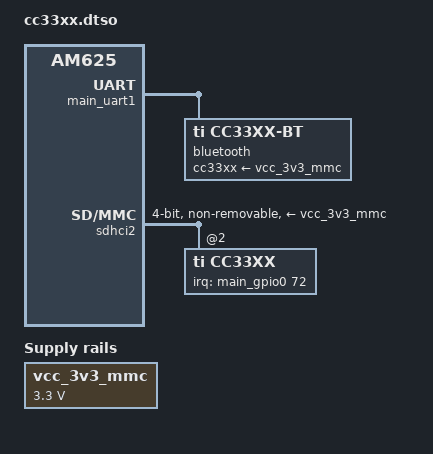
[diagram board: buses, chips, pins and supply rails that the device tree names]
// SPDX-License-Identifier: GPL-2.0
/*
 * Copyright (C) 2022 - 2023 PHYTEC Messtechnik GmbH
 * Author: Alexander Bauer <a.bauer@phytec.de>
 *
 * Product homepage:
 * https://www.phytec.com/product/phyboard-am62x
 */

#include <dt-bindings/gpio/gpio.h>
#include <dt-bindings/input/input.h>
#include <dt-bindings/leds/common.h>
#include <dt-bindings/net/ti-dp83867.h>
#include <dt-bindings/interrupt-controller/irq.h>
#include "k3-pinctrl.h"

/dts-v1/;
/plugin/;

/ {
        compatible = "phytec,am625-phyverso-evcs",
                     "phytec,am62-phycore-som", "ti,am625";

	vcc_3v3_mmc: regulator-vcc-3v3-mmc {
		compatible = "regulator-fixed";
		regulator-name = "VCC_3V3_MMC";
		regulator-min-microvolt = <3300000>;
		regulator-max-microvolt = <3300000>;
		regulator-always-on;
		regulator-boot-on;
	};
};

&main_pmx0 {
	pinctrl-names = "default";

	main_mmc2_pins_default: main-mmc2-pins-default {
		pinctrl-single,pins = <
			AM62X_IOPAD(0x120, PIN_INPUT_PULLUP, 0) /* (C24) MMC2_CMD */
			AM62X_IOPAD(0x118, PIN_INPUT_PULLDOWN, 0) /* (D25) MMC2_CLK */
			AM62X_IOPAD(0x114, PIN_INPUT_PULLUP, 0) /* (B24) MMC2_DAT0 */
			AM62X_IOPAD(0x110, PIN_INPUT_PULLUP, 0) /* (C25) MMC2_DAT1 */
			AM62X_IOPAD(0x10c, PIN_INPUT_PULLUP, 0) /* (E23) MMC2_DAT2 */
			AM62X_IOPAD(0x108, PIN_INPUT_PULLUP, 0) /* (D24) MMC2_DAT3 */
			AM62X_IOPAD(0x11c, PIN_INPUT_PULLUP, 0) /* (#N/A) MMC2_CLKB */
		>;
	};

	main_uart1_pins_default: main-uart1-pins-default {
		pinctrl-single,pins = <
			AM62X_IOPAD(0x194, PIN_INPUT, 2) /* (B19) MCASP0_AXR3.UART1_CTSn */
			AM62X_IOPAD(0x198, PIN_OUTPUT, 2) /* (A19) MCASP0_AXR2.UART1_RTSn */
			AM62X_IOPAD(0x1ac, PIN_INPUT, 2) /* (E19) MCASP0_AFSR.UART1_RXD */
			AM62X_IOPAD(0x1b0, PIN_OUTPUT, 2) /* (A20) MCASP0_ACLKR.UART1_TXD */
		>;
	};

	wifi_wlirq_pins_default: wifi-wlirq-pins-default {
		pinctrl-single,pins = <
			AM62X_IOPAD(0x128, PIN_INPUT_PULLDOWN, 7) /* (B23) MMC2_SDWP.GPIO0_72 */
		>;
	};

};


&main_uart1 {
	pinctrl-names = "default";
	pinctrl-0 = <&main_uart1_pins_default>;
	status = "okay";

	bluetooth {
		compatible = "ti,cc33xx-bt";
		max-speed = <115200>;
		cc33xx-supply = <&vcc_3v3_mmc>;
	};
};


&sdhci2 {
	#address-cells = <1>;
	#size-cells = <0>;

	vmmc-supply = <&vcc_3v3_mmc>;
	vqmmc-supply = <&vddshv5_sdio>;
	pinctrl-names = "default";
	pinctrl-0 = <&main_mmc2_pins_default>;

	bus-width = <4>;
	non-removable;
	ti,fails-without-test-cd;
	cap-power-off-card;
	keep-power-in-suspend;
	ti,driver-strength-ohm = <50>;
	pm-ignore-notify;

	assigned-clocks = <&k3_clks 157 158>;
	assigned-clock-parents = <&k3_clks 157 160>;


	status = "okay";

	cc33xx: wifi@2 {
		compatible = "ti,cc33xx";
		reg = <2>;
		pinctrl-names = "default";
		pinctrl-0 = <&wifi_wlirq_pins_default>;

		interrupt-parent = <&main_gpio0>;
		interrupts = <72 IRQ_TYPE_EDGE_RISING>;
		irq-gpio = <&main_gpio0 72 GPIO_ACTIVE_HIGH>;
	};
};


